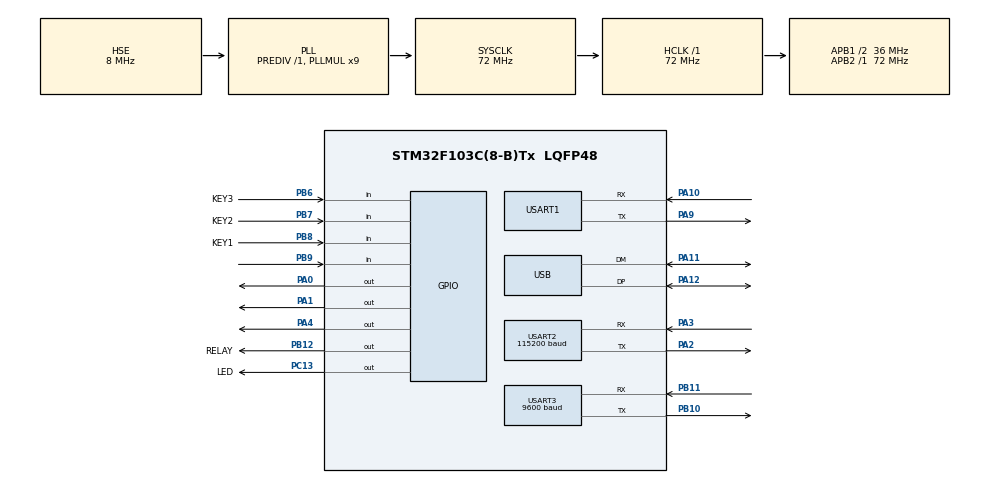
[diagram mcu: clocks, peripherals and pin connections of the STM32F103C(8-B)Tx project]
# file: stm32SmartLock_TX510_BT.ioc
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Mcu.Family=STM32F1
Mcu.Name=STM32F103C(8-B)Tx
Mcu.Package=LQFP48
NVIC.PriorityGroup=NVIC_PRIORITYGROUP_4
NVIC.TIM2_IRQn=true\:0\:0\:false\:false\:true\:true\:true\:true
NVIC.USART1_IRQn=true\:0\:0\:false\:false\:true\:true\:true\:true
NVIC.USART2_IRQn=true\:0\:0\:false\:false\:true\:true\:true\:true
NVIC.USART3_IRQn=true\:0\:0\:false\:false\:true\:true\:true\:true
NVIC.USB_LP_CAN1_RX0_IRQn=true\:0\:0\:false\:false\:true\:false\:true\:true
PA0-WKUP.GPIO_PuPd=GPIO_PULLUP
PA0-WKUP.GPIO_Speed=GPIO_SPEED_FREQ_HIGH
PA0-WKUP.Signal=GPIO_Output
PA1.GPIO_PuPd=GPIO_PULLUP
PA1.GPIO_Speed=GPIO_SPEED_FREQ_HIGH
PA1.Signal=GPIO_Output
PA10.Mode=Asynchronous
PA10.Signal=USART1_RX
PA11.Mode=Device
PA11.Signal=USB_DM
PA12.Mode=Device
PA12.Signal=USB_DP
PA13.Mode=Serial_Wire
PA13.Signal=SYS_JTMS-SWDIO
PA14.Mode=Serial_Wire
PA14.Signal=SYS_JTCK-SWCLK
PA2.Mode=Asynchronous
PA2.Signal=USART2_TX
PA3.Mode=Asynchronous
PA3.Signal=USART2_RX
PA4.GPIO_PuPd=GPIO_PULLUP
PA4.Signal=GPIO_Output
PA9.Mode=Asynchronous
PA9.Signal=USART1_TX
PB10.Mode=Asynchronous
PB10.Signal=USART3_TX
PB11.Mode=Asynchronous
PB11.Signal=USART3_RX
PB12.GPIO_Label=RELAY
PB12.GPIO_PuPd=GPIO_PULLUP
PB12.Signal=GPIO_Output
PB6.GPIO_Label=KEY3
PB6.GPIO_PuPd=GPIO_PULLUP
PB6.Signal=GPIO_Input
PB7.GPIO_Label=KEY2
PB7.GPIO_PuPd=GPIO_PULLUP
PB7.Signal=GPIO_Input
PB8.GPIO_Label=KEY1
PB8.GPIO_PuPd=GPIO_PULLUP
PB8.Signal=GPIO_Input
PB9.GPIO_PuPd=GPIO_PULLUP
PB9.Signal=GPIO_Input
PC13-TAMPER-RTC.GPIO_Label=LED
PC13-TAMPER-RTC.PinState=GPIO_PIN_SET
PC13-TAMPER-RTC.Signal=GPIO_Output
PD0-OSC_IN.Mode=HSE-External-Oscillator
PD0-OSC_IN.Signal=RCC_OSC_IN
PD1-OSC_OUT.Mode=HSE-External-Oscillator
PD1-OSC_OUT.Signal=RCC_OSC_OUT
ProjectManager.HeapSize=0x400
ProjectManager.StackSize=0x800
ProjectManager.TargetToolchain=MDK-ARM V5.32
RCC.AHBFreq_Value=72000000
RCC.APB1CLKDivider=RCC_HCLK_DIV2
RCC.APB1Freq_Value=36000000
RCC.APB1TimFreq_Value=72000000
RCC.APB2Freq_Value=72000000
RCC.APB2TimFreq_Value=72000000
RCC.HCLKFreq_Value=72000000
RCC.PLLMUL=RCC_PLL_MUL9
RCC.PLLSourceVirtual=RCC_PLLSOURCE_HSE
RCC.SYSCLKFreq_VALUE=72000000
RCC.SYSCLKSource=RCC_SYSCLKSOURCE_PLLCLK
RCC.USBFreq_Value=48000000
RCC.USBPrescaler=RCC_USBCLKSOURCE_PLL_DIV1_5
TIM2.Period=1000-1
TIM2.Prescaler=72-1
USART1.VirtualMode=VM_ASYNC
USART2.BaudRate=115200
USART2.VirtualMode=VM_ASYNC
USART3.BaudRate=9600
USART3.VirtualMode=VM_ASYNC
USB_DEVICE.CLASS_NAME_FS=CDC
USB_DEVICE.VirtualMode=Cdc
USB_DEVICE.VirtualModeFS=Cdc_FS
VP_TIM2_VS_ClockSourceINT.Mode=Internal
VP_USB_DEVICE_VS_USB_DEVICE_CDC_FS.Mode=CDC_FS
board=custom

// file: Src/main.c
/* USER CODE BEGIN Header */
/**
  ******************************************************************************
  * @file           : main.c
  * @brief          : Main program body
  ******************************************************************************
  * @attention
  *
  * Copyright (c) 2025 STMicroelectronics.
  * All rights reserved.
  *
  * This software is licensed under terms that can be found in the LICENSE file
  * in the root directory of this software component.
  * If no LICENSE file comes with this software, it is provided AS-IS.
  *
  ******************************************************************************
  */
/* USER CODE END Header */
#include "main.h"
#include "tim.h"
#include "usart.h"
#include "usb_device.h"
#include "gpio.h"

/* USER CODE BEGIN Includes */
#include "oled.h"
#include "stdio.h"
#include "string.h"
#include "esp8266_at.h"

#include "usbd_cdc_if.h"
/* USER CODE END Includes */

/* USER CODE BEGIN PD */
//此处根据自己的wifi作调整
#define WIFI_NAME "MERCURY_3532"
#define WIFI_PASSWD "aabbccdd123"
/* USER CODE END PD */

/* USER CODE BEGIN PV */

void USB_RESET()
{
    GPIO_InitTypeDef GPIO_InitStruct;
    /* GPIO Ports Clock Enable */
    __HAL_RCC_GPIOA_CLK_ENABLE();
    /*Configure GPIO pin Output Level */
    HAL_GPIO_WritePin(GPIOA, GPIO_PIN_12, GPIO_PIN_RESET);
    /*Configure GPIO pin : PA12 */
    GPIO_InitStruct.Pin = GPIO_PIN_12;
    GPIO_InitStruct.Mode = GPIO_MODE_OUTPUT_PP;
    GPIO_InitStruct.Pull = GPIO_PULLDOWN;
    GPIO_InitStruct.Speed = GPIO_SPEED_FREQ_LOW;
    HAL_GPIO_Init(GPIOA, &GPIO_InitStruct);

    HAL_GPIO_WritePin(GPIOA, GPIO_PIN_12,
                      GPIO_PIN_RESET);
    HAL_Delay(65);
    //先把PA12拉低再拉高，利用D+模拟USB的拔插动作
    HAL_GPIO_WritePin(GPIOA,GPIO_PIN_12,GPIO_PIN_SET);
    HAL_Delay(65);
}
/* USER CODE END PV */

void SystemClock_Config(void);

/* USER CODE BEGIN 0 */
uint32_t get_TimeDiff(uint32_t lstT)
{
    return HAL_GetTick()-lstT;
}

uint8_t uart1_RxBuffer; //接收中断缓冲
uint8_t uart2_RxBuffer; //接收中断缓冲
uint8_t uart3_RxBuffer; //接收中断缓冲
#define USART1_MAX_RECV_LEN 64 // 串口缓存大小
uint8_t USART1_RX_BUF[USART1_MAX_RECV_LEN]; //缓存数组
uint16_t USART1_RX_STA=0;// 串口1 接收完成标志和数据计算量
uint16_t USART1_RX_OK=0;

//#define USART2_MAX_RECV_LEN 32 // 串口缓存大小
//uint8_t USART2_RX_BUF[USART2_MAX_RECV_LEN]; //缓存数组
uint16_t USART2_RX_STA=0;// 串口1 接收完成标志和数据计算量
uint16_t USART2_RX_OK=0;

#define USART3_MAX_RECV_LEN 32 // 串口缓存大小
uint8_t USART3_RX_BUF[USART3_MAX_RECV_LEN]; //缓存数组
uint16_t USART3_RX_STA=0;// 串口1 接收完成标志和数据计算量
uint16_t USART3_RX_OK=0;
uint8_t openCnt=0;//开门计时
#define OPEN_PERIOD   3 //开门周期

uint8_t flag_connection=0;// 0表示未连接 1表示有连接
void ES8266_MQTT_Init(uint8_t status1 );
/* USER CODE END 0 */

int main(void)
{

  /* USER CODE BEGIN 1 */
    uint32_t lst_t=0;
    char s_temp[256];// 用于转换字符串使用
  /* USER CODE END 1 */

  /* MCU Configuration--------------------------------------------------------*/

  /* Reset of all peripherals, Initializes the Flash interface and the Systick. */
  HAL_Init();

  /* USER CODE BEGIN Init */
USB_RESET();
  /* USER CODE END Init */

  /* Configure the system clock */
  SystemClock_Config();

  /* Initialize all configured peripherals */
  MX_GPIO_Init();
  MX_TIM2_Init();
  MX_USART1_UART_Init();
  MX_USART3_UART_Init();
  MX_USART2_UART_Init();
  MX_USB_DEVICE_Init();
  /* USER CODE BEGIN 2 */
    OLED_Init();//初始化显示屏
    OLED_Clear();
    OLED_ShowStringCN(16,0,(unsigned char*)"智能门禁",16);//显示系统开始界面
    OLED_Refresh();

    HAL_UART_Receive_IT(&huart1, (uint8_t *)&uart1_RxBuffer, 1);
    HAL_UART_Receive_IT(&huart2, (uint8_t *)&uart2_RxBuffer, 1);
    HAL_UART_Receive_IT(&huart3, (uint8_t *)&uart3_RxBuffer, 1);
    HAL_TIM_Base_Start_IT(&htim2);// 开启定时器 用来判断串口信号结束

    IoT_Parameter_Init();
    ES8266_MQTT_Init(0);
  /* USER CODE END 2 */

  /* Infinite loop */
    while (1)
    {

    /* USER CODE BEGIN 3 */
				if(get_TimeDiff(lst_t)>1000)
				{
					lst_t = HAL_GetTick();

					if(openCnt >0)
					{
						openCnt--;
						HAL_GPIO_WritePin(RELAY_GPIO_Port,RELAY_Pin,GPIO_PIN_SET);
					}else{

						HAL_GPIO_WritePin(RELAY_GPIO_Port,RELAY_Pin,GPIO_PIN_RESET);
					}
				}
        if(HAL_GPIO_ReadPin(KEY1_GPIO_Port,KEY1_Pin)==RESET)
        {
            HAL_Delay(100);
            while(HAL_GPIO_ReadPin(KEY1_GPIO_Port,KEY1_Pin)==RESET);
            uint8_t ss[8]= {0xef,0xaa,0x12,0,0,0,0,0x12};
            HAL_UART_Transmit(&huart1,ss,8,0xffff);
        }
        else 				if(HAL_GPIO_ReadPin(KEY2_GPIO_Port,KEY2_Pin)==RESET)
        {
            HAL_Delay(100);
            while(HAL_GPIO_ReadPin(KEY2_GPIO_Port,KEY2_Pin)==RESET);
            uint8_t ss[8]= {0xef,0xaa,0x13,0,0,0,0,0x13};
            HAL_UART_Transmit(&huart1,ss,8,0xffff);
        }
        else 				if(HAL_GPIO_ReadPin(KEY3_GPIO_Port,KEY3_Pin)==RESET)
        {
            HAL_Delay(100);
            while(HAL_GPIO_ReadPin(KEY3_GPIO_Port,KEY3_Pin)==RESET);
            uint8_t ss[8]= {0xef,0xaa,0x21,0,0,0,0,0x21};
            HAL_UART_Transmit(&huart1,ss,8,0xffff);
        }

        if (USART1_RX_OK==1)
        {
            USART1_RX_OK=0;

            if(USART1_RX_BUF[0]==0xef && USART1_RX_BUF[1]==0xaa)//获取到TX510返回的数据
            {
                if(USART1_RX_BUF[7]==0x12)// 验证ID
                {
                    if(USART1_RX_BUF[8]==0x0 && USART1_RX_BUF[6]>0x02)//验证通过
                    {
                        OLED_Clear();

                        HAL_GPIO_WritePin(RELAY_GPIO_Port,RELAY_Pin,GPIO_PIN_SET);
                        OLED_ShowStringCN(0,16,(unsigned char*)"验证成功",16);
											sprintf(s_temp,"验证成功,ID:%x%x",USART1_RX_BUF[9],USART1_RX_BUF[10]);
												HAL_UART_Transmit(&huart3,s_temp,strlen(s_temp),0xffff);

                        sprintf(s_temp,"ID:%x%x",USART1_RX_BUF[9],USART1_RX_BUF[10]);
                        OLED_ShowString(0,32,(unsigned char*)s_temp,16,1);
                        OLED_Refresh();
                        HAL_Delay(2000);
                        OLED_Clear();
                        OLED_ShowStringCN(16,0,(unsigned char*)"智能门禁",16);//显示系统开始界面
                        OLED_Refresh();
               //发送数据流
								sprintf(s_temp,"{\"id\":\"1\"\,\"params\":{\"myid\":{\"value\":%d}\}}",
												(uint16_t)USART1_RX_BUF[9]*256+USART1_RX_BUF[10]);

                ESP8266_Pub(P_TOPIC_NAME,s_temp);
                    } else {

                        OLED_Clear();
                        OLED_ShowStringCN(0,16,(unsigned char*)"验证失败",16);
											HAL_UART_Transmit(&huart3,"验证失败",strlen("验证失败"),0xffff);
                        OLED_Refresh();
                        HAL_Delay(2000);
                        OLED_Clear();
                        OLED_ShowStringCN(16,0,(unsigned char*)"智能门禁",16);//显示系统开始界面
                        OLED_Refresh();
                    }
                } else if(USART1_RX_BUF[7]==0x13)// 注册ID
                {
                    if(USART1_RX_BUF[8]==0x0 && USART1_RX_BUF[6]>0x02)//注册通过
                    {
                        OLED_Clear();
                        OLED_ShowStringCN(0,16,(unsigned char*)"注册成功",16);
											HAL_UART_Transmit(&huart3,"注册成功",strlen("注册成功"),0xffff);
                        sprintf(s_temp,"ID:%x%x",USART1_RX_BUF[9],USART1_RX_BUF[10]);
                        OLED_ShowString(0,32,(unsigned char*)s_temp,16,1);
                        OLED_Refresh();

                        HAL_Delay(2000);
                        OLED_Clear();
                        OLED_ShowStringCN(16,0,(unsigned char*)"智能门禁",16);//显示系统开始界面
                        OLED_Refresh();

                    } else {
                        OLED_Clear();
                        OLED_ShowStringCN(0,16,(unsigned char*)"注册失败",16);
                        OLED_Refresh();

											HAL_UART_Transmit(&huart3,"注册失败",strlen("注册失败"),0xffff);
                        HAL_Delay(2000);
                        OLED_Clear();
                        OLED_ShowStringCN(16,0,(unsigned char*)"智能门禁",16);//显示系统开始界面
                        OLED_Refresh();
                    }
                } else if(USART1_RX_BUF[7]==0x21)// 删除所有ID
                {
                    if(USART1_RX_BUF[8]==0x0 && USART1_RX_BUF[6]==0x02)//删除通过
                    {
                        OLED_Clear();
                        OLED_ShowStringCN(0,16,(unsigned char*)"删除成功",16);
                        OLED_Refresh();

                        HAL_Delay(2000);
                        OLED_Clear();
                        OLED_ShowStringCN(16,0,(unsigned char*)"智能门禁",16);//显示系统开始界面
                        OLED_Refresh();

                    }
                }
            }
            memset(USART1_RX_BUF,0,32);
            USART1_RX_STA=0;
        }

        if (USART3_RX_OK==1)
        {
            USART3_RX_OK=0;

            memset(USART3_RX_BUF,0,32);
            USART3_RX_STA=0;

        }

        if (USART2_RX_OK==1)
        {
            USART2_RX_OK=0;

					printf(" Get msg from OneNet:\r\n%s \r\n----------------------------------------",usart2_rxbuf);
            memset(usart2_rxbuf,0,USART2_MAX_RECV_LEN);
            usart2_rxcounter=0;

        }
    }
  /* USER CODE END 3 */
}

void SystemClock_Config(void)
{
  RCC_OscInitTypeDef RCC_OscInitStruct = {0};
  RCC_ClkInitTypeDef RCC_ClkInitStruct = {0};
  RCC_PeriphCLKInitTypeDef PeriphClkInit = {0};

  /** Initializes the RCC Oscillators according to the specified parameters
  * in the RCC_OscInitTypeDef structure.
  */
  RCC_OscInitStruct.OscillatorType = RCC_OSCILLATORTYPE_HSE;
  RCC_OscInitStruct.HSEState = RCC_HSE_ON;
  RCC_OscInitStruct.HSEPredivValue = RCC_HSE_PREDIV_DIV1;
  RCC_OscInitStruct.HSIState = RCC_HSI_ON;
  RCC_OscInitStruct.PLL.PLLState = RCC_PLL_ON;
  RCC_OscInitStruct.PLL.PLLSource = RCC_PLLSOURCE_HSE;
  RCC_OscInitStruct.PLL.PLLMUL = RCC_PLL_MUL9;
  if (HAL_RCC_OscConfig(&RCC_OscInitStruct) != HAL_OK)
  {
    Error_Handler();
  }

  /** Initializes the CPU, AHB and APB buses clocks
  */
  RCC_ClkInitStruct.ClockType = RCC_CLOCKTYPE_HCLK|RCC_CLOCKTYPE_SYSCLK
                              |RCC_CLOCKTYPE_PCLK1|RCC_CLOCKTYPE_PCLK2;
  RCC_ClkInitStruct.SYSCLKSource = RCC_SYSCLKSOURCE_PLLCLK;
  RCC_ClkInitStruct.AHBCLKDivider = RCC_SYSCLK_DIV1;
  RCC_ClkInitStruct.APB1CLKDivider = RCC_HCLK_DIV2;
  RCC_ClkInitStruct.APB2CLKDivider = RCC_HCLK_DIV1;

  if (HAL_RCC_ClockConfig(&RCC_ClkInitStruct, FLASH_LATENCY_2) != HAL_OK)
  {
    Error_Handler();
  }
  PeriphClkInit.PeriphClockSelection = RCC_PERIPHCLK_USB;
  PeriphClkInit.UsbClockSelection = RCC_USBCLKSOURCE_PLL_DIV1_5;
  if (HAL_RCCEx_PeriphCLKConfig(&PeriphClkInit) != HAL_OK)
  {
    Error_Handler();
  }
}

/* USER CODE BEGIN 4 */
uint8_t flag_rx1=0;
uint32_t rx_cnt1=0;
uint8_t flag_rx2=0;
uint32_t rx_cnt2=0;
uint8_t flag_rx3=0;
uint32_t rx_cnt3=0;
void HAL_UART_RxCpltCallback(UART_HandleTypeDef *huart)
{
    /* Prevent unused argument(s) compilation warning */

    /* NOTE: This function Should not be modified, when the callback is needed,
             the HAL_UART_TxCpltCallback could be implemented in the user file
     */
    if(huart->Instance == USART1)	// 判断是由哪个串口触发的中断
    {
        flag_rx1=1;
        rx_cnt1=0;
        //将接收到的数据放入接收usart1接收数组
        if(USART1_RX_STA<USART1_MAX_RECV_LEN)	//还可以接收数据
        {
            USART1_RX_BUF[USART1_RX_STA++]=uart1_RxBuffer;	//记录接收到的值
        } else
        {
            USART1_RX_STA=0;				//强制标记接收完成
        }
        HAL_UART_Receive_IT(&huart1,&uart1_RxBuffer,1);//再开启接收中断
    }
    if(huart->Instance == USART2)	// 判断是由哪个串口触发的中断
    {
        flag_rx2=1;
        rx_cnt2=0;
        //将接收到的数据放入接收usart1接收数组
        if(USART2_RX_STA<USART2_MAX_RECV_LEN)	//还可以接收数据
        {
            usart2_rxbuf[usart2_rxcounter++]=uart2_RxBuffer;	//记录接收到的值
        } else
        {
            usart2_rxcounter=0;				//强制标记接收完成
        }
        HAL_UART_Receive_IT(&huart2,&uart2_RxBuffer,1);//再开启接收中断
    }
    if(huart->Instance == USART3)	// 判断是由哪个串口触发的中断
    {
        flag_rx3=1;
        rx_cnt3=0;
        //将接收到的数据放入接收usart1接收数组
        if(USART3_RX_STA<USART3_MAX_RECV_LEN)	//还可以接收数据
        {
            USART3_RX_BUF[USART3_RX_STA++]=uart3_RxBuffer;	//记录接收到的值
        } else
        {
            USART3_RX_STA=0;				//强制标记接收完成
        }
        HAL_UART_Receive_IT(&huart3,&uart3_RxBuffer,1);//再开启接收中断
    }

}
void HAL_TIM_PeriodElapsedCallback(TIM_HandleTypeDef *htim)
{
    if(htim->Instance == TIM2)
    {
        if(flag_rx1>0)//说明在收数据
        {
            rx_cnt1++;
            if(rx_cnt1>20)
            {
                flag_rx1=0;
                rx_cnt1=0;
                USART1_RX_OK=1;				//强制标记接收完成
            }
        }
        if(flag_rx3>0)//说明在收数据
        {
            rx_cnt3++;
            if(rx_cnt3>20)
            {
                flag_rx3=0;
                rx_cnt3=0;
                USART3_RX_OK=1;				//强制标记接收完成
            }
        }

        if(flag_rx2>0)//说明在收数据
        {
            rx_cnt2++;
            if(rx_cnt2>20)
            {
                flag_rx2=0;
                rx_cnt2=0;
                USART2_RX_OK=1;				//强制标记接收完成
            }
        }
    }
}

// 重定向printf函数
int fputc(int ch,FILE *f)
{
    uint8_t temp[1]= {ch};
    //HAL_UART_Transmit(&huart1,temp,1,0xffff);
    uint32_t cnt=1000;
    while(CDC_Transmit_FS((uint8_t *)&ch, 1) == USBD_BUSY && cnt>0)cnt--;

    return 0;
}

//进入错误模式等待手动重启
void Enter_ErrorMode(uint8_t mode)
{

    //while(1)
    {
        switch(mode) {
        case 0:
            printf("ESP8266初始化失败！\r\n");
            break;
        case 1:
            printf("ESP8266连接热点失败！\r\n");
            break;
        case 2:
            printf("ESP8266连接 服务器失败！\r\n");
            break;
        case 3:
            printf("ESP8266 MQTT登陆失败！\r\n");
            break;
        case 4:
            printf("ESP8266 MQTT订阅主题失败！\r\n");
            break;
        default:
            printf("Nothing\r\n");
            break;
        }
        printf("请重启开发板");
        //HAL_GPIO_TogglePin(LED_R_GPIO_Port,LED_R_Pin);
        HAL_Delay(200);
    }
}
//MQTT初始化函数
void ES8266_MQTT_Init(uint8_t status1 )
{
    uint8_t status=status1;

    //初始化
    if(status==0)
    {
        if(ESP8266_Init())
        {
            printf("ESP8266初始化成功！\r\n");
            status++;
        }
        else Enter_ErrorMode(0);
    }
    //连接热点
    if(status==1)
    {
        if(ESP8266_ConnectAP(WIFI_NAME,WIFI_PASSWD))
        {
            printf("ESP8266连接热点成功！\r\n");
            status++;
        }
        else Enter_ErrorMode(1);
    }
    if(status ==2)
    {
        if(ESP8266_USERCFG("NULL",Username,Passward)!=0)
        {
            printf("配置mqtt信息成功！\r\n");
            status++;
        }
        else Enter_ErrorMode(2);

    }
    if(status ==3)
    {
        if(ESP8266_USERCLIENT(ClientID)!=0)
        {
            printf("配置ClientID信息成功！\r\n");
            status++;
        }
        else Enter_ErrorMode(2);

    }
    //连接中移动IOT服务器
    if(status==4)
    {
        if(ESP8266_ConnectIOT(ServerIP,ServerPort)!=0)
        {
            printf("ESP8266连接中移动服务器成功！\r\n");
            status++;

        }
        else Enter_ErrorMode(2);
    }

    //订阅主题
    if(status==5)
    {
        if(ESP8266_Sub(S_TOPIC_NAME) != 0)
        {
            printf("ESP8266中移动MQTT订阅主题成功！\r\n");
            flag_connection=1;
        }
        else Enter_ErrorMode(4);
    }
}
/* USER CODE END 4 */

void Error_Handler(void)
{
    __disable_irq();
    while (1)
    {
    }
}
